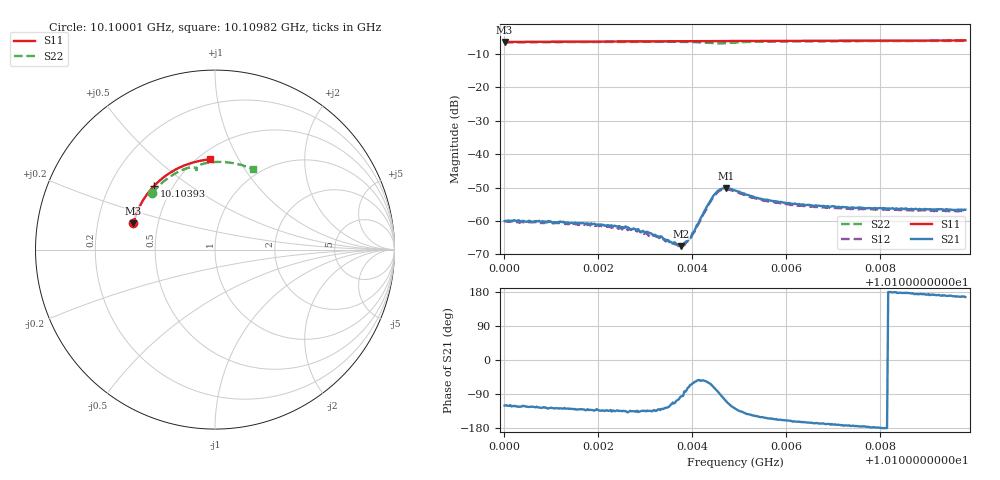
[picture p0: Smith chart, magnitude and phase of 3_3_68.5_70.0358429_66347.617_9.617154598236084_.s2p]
#  HZ  S  RI  R  50.00
! Rohde & Schwarz Vector Network Analyzer
! Rohde-Schwarz,ZNB20-2Port,1311601062101988,3.16
! Created: UTC 3/20/2024, 5:03:51 PM
! freq[Hz]  re:S11  im:S11  re:S21  im:S21  re:S12  im:S12  re:S22  im:S22
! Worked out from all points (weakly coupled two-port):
!   401 points, 10.10001 GHz to 10.10982 GHz, reference 50 ohm
!   highest |S21| = -50.16 dB at 10.10472 GHz (marker M1); lowest = -67.5 dB at 10.10376 GHz (marker M2)
!   lowest |S11| = -6.4 dB at 10.10001 GHz (marker M3), VSWR 2.83, Z = 18 + j6.82 ohm
!   |S11| at or under -10 dB: nowhere
!   |S22| runs from -6.9 to -6.1 dB; largest |S21 - S12| = 0.00035
!   S11 on the Smith chart (normalised r, x): 10.10001 GHz: 0.36, +0.14; 10.10393 GHz: 0.39, +0.37; 10.10982 GHz: 0.57, +0.77
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1.0100008e10  -0.4556 0.146  -0.0005 -0.000858  -0.000417 -0.000875  -0.3495 0.3154
1.0101652e10  -0.4203 0.2396  -0.00059 -0.000709  -0.000516 -0.000725  -0.2735 0.3895
1.0102413e10  -0.3977 0.2799  -0.000564 -0.000609  -0.00052 -0.000584  -0.2327 0.4177
1.0102658e10  -0.3895 0.2925  -0.000555 -0.000532  -0.000505 -0.000592  -0.2187 0.4259
1.0102904e10  -0.3809 0.3047  -0.000483 -0.000478  -0.000433 -0.000521  -0.2043 0.4336
1.0103076e10  -0.3747 0.3131  -0.000464 -0.000475  -0.000389 -0.000454  -0.1939 0.4387
1.0103296e10  -0.3666 0.3235  -0.000369 -0.00044  -0.000323 -0.000454  -0.1801 0.4446
1.0103566e10  -0.356 0.3363  -0.000212 -0.000427  -0.000178 -0.000432  -0.1624 0.4514
1.0103763e10  -0.3482 0.3451  -4.57e-05 -0.00042  5.73e-06 -0.000423  -0.1489 0.4553
1.0103861e10  -0.3441 0.3495  5.44e-05 -0.000481  9.13e-05 -0.000448  -0.1417 0.4569
1.0103934e10  -0.341 0.3528  0.00017 -0.000502  0.000206 -0.000461  -0.1363 0.4576
1.0104033e10  -0.3369 0.3571  0.000338 -0.000592  0.000358 -0.000551  -0.1286 0.4583
1.0104303e10  -0.3254 0.3686  0.000866 -0.0013  0.000924 -0.00115  -0.1078 0.4542
1.010445e10  -0.3188 0.3746  0.000812 -0.0022  0.000942 -0.00201  -0.1012 0.447
1.0104572e10  -0.3134 0.3797  0.000176 -0.00287  0.000405 -0.00275  -0.1023 0.4425
1.010472e10  -0.3067 0.3856  -0.000962 -0.00295  -0.000686 -0.00293  -0.106 0.4463
1.0104916e10  -0.298 0.3933  -0.00175 -0.00226  -0.00149 -0.00229  -0.1012 0.4584
1.0105382e10  -0.2756 0.4107  -0.00189 -0.00117  -0.00173 -0.00125  -0.0714 0.4761
1.0105579e10  -0.2658 0.4175  -0.00183 -0.000943  -0.00168 -0.00104  -0.0578 0.48
1.010656e10  -0.2152 0.4484  -0.00165 -0.000409  -0.00157 -0.00051  0.00778 0.4882
1.0108204e10  -0.1228 0.4853  -0.00153 2.65e-05  -0.00147 -0.000149  0.1132 0.4793
1.0109824e10  -0.0267 0.5025  -0.00143 0.000352  -0.00138 0.000168  0.2116 0.4481
